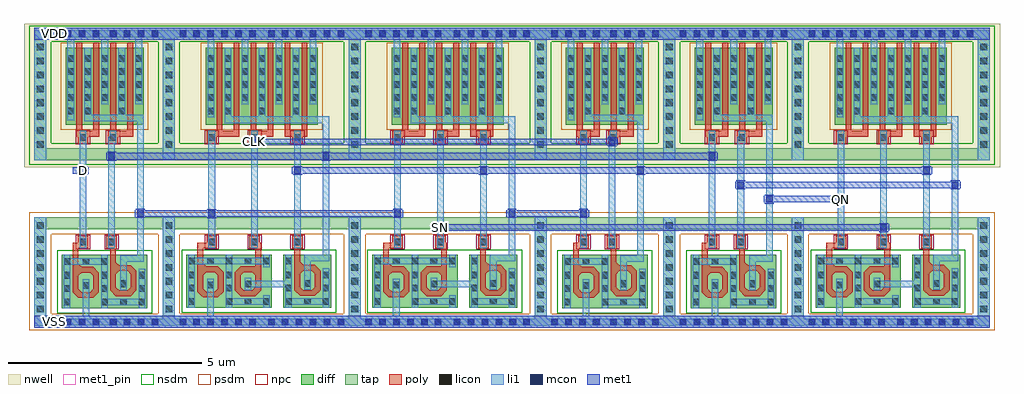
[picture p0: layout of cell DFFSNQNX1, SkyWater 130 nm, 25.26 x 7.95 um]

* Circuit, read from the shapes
.subckt DFFSNQNX1 CLK D QN SN VDD VSS
XM1 n1 D VSS VSS sky130_fd_pr__nfet_01v8 w=2.6 l=0.1464
XM2 n1 n2 n3 VSS sky130_fd_pr__nfet_01v8 w=2.56 l=0.1463
XM3 n4 n3 VSS VSS sky130_fd_pr__nfet_01v8 w=2.6 l=0.1464
XM4 n4 CLK n5 VSS sky130_fd_pr__nfet_01v8 w=2.52 l=0.1453
XM5 n5 n6 n2 VSS sky130_fd_pr__nfet_01v8 w=2.56 l=0.1459
XM6 n7 n3 VSS VSS sky130_fd_pr__nfet_01v8 w=2.6 l=0.1461
XM7 n7 SN n8 VSS sky130_fd_pr__nfet_01v8 w=2.52 l=0.1453
XM8 n8 n6 n9 VSS sky130_fd_pr__nfet_01v8 w=2.56 l=0.1459
XM9 n10 n9 VSS VSS sky130_fd_pr__nfet_01v8 w=2.6 l=0.1465
XM10 n10 CLK n6 VSS sky130_fd_pr__nfet_01v8 w=2.56 l=0.1461
XM11 n11 n2 VSS VSS sky130_fd_pr__nfet_01v8 w=2.6 l=0.1464
XM12 n11 n12 QN VSS sky130_fd_pr__nfet_01v8 w=2.56 l=0.1463
XM13 n13 QN VSS VSS sky130_fd_pr__nfet_01v8 w=2.6 l=0.1464
XM14 n13 SN n14 VSS sky130_fd_pr__nfet_01v8 w=2.52 l=0.1453
XM15 n14 n6 n12 VSS sky130_fd_pr__nfet_01v8 w=2.56 l=0.1459
XM16 n3 D VDD VDD sky130_fd_pr__pfet_01v8 w=2 l=0.15 m=2
XM17 n3 n2 VDD VDD sky130_fd_pr__pfet_01v8 w=2 l=0.15 m=2
XM18 n2 n3 VDD VDD sky130_fd_pr__pfet_01v8 w=2 l=0.15 m=2
XM19 n2 CLK VDD VDD sky130_fd_pr__pfet_01v8 w=2 l=0.15 m=2
XM20 n2 n6 VDD VDD sky130_fd_pr__pfet_01v8 w=2 l=0.15 m=2
XM21 n9 n3 VDD VDD sky130_fd_pr__pfet_01v8 w=2 l=0.15 m=2
XM22 n9 SN VDD VDD sky130_fd_pr__pfet_01v8 w=2 l=0.15 m=2
XM23 n9 n6 VDD VDD sky130_fd_pr__pfet_01v8 w=2 l=0.15 m=2
XM24 n6 n9 VDD VDD sky130_fd_pr__pfet_01v8 w=2 l=0.15 m=2
XM25 n6 CLK VDD VDD sky130_fd_pr__pfet_01v8 w=2 l=0.15 m=2
XM26 QN n2 VDD VDD sky130_fd_pr__pfet_01v8 w=2 l=0.15 m=2
XM27 QN n12 VDD VDD sky130_fd_pr__pfet_01v8 w=2 l=0.15 m=2
XM28 n12 QN VDD VDD sky130_fd_pr__pfet_01v8 w=2 l=0.15 m=2
XM29 n12 SN VDD VDD sky130_fd_pr__pfet_01v8 w=2 l=0.15 m=2
XM30 n12 n6 VDD VDD sky130_fd_pr__pfet_01v8 w=2 l=0.15 m=2
.ends

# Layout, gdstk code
import gdstk
lib = gdstk.Library(unit=1e-6, precision=1e-09)
def R(c, l, rs):  # rectangles x0, y0, x1, y1
    for r in rs: c.add(gdstk.rectangle(r[:2], r[2:], *l))
def A(c, l, x, y, w, h, nx, ny, dx, dy):  # array of equal rectangles
    R(c, l, [(x+i*dx, y+j*dy, x+i*dx+w, y+j*dy+h) for i in range(nx) for j in range(ny)])
def P(c, l, *ps):  # polygons
    for p in ps: c.add(gdstk.Polygon(p, *l))
nwell = (64, 20)
diff = (65, 20)
tap = (65, 44)
poly = (66, 20)
licon = (66, 44)
li1 = (67, 20)
mcon = (67, 44)
met1_pin = (68, 16)
met1 = (68, 20)
nsdm = (93, 44)
psdm = (94, 20)
npc = (95, 20)

dffsnqnx1 = lib.new_cell('DFFSNQNX1')
R(dffsnqnx1, nwell, [(-0.42,4.16,24.84,7.875)])
R(dffsnqnx1, diff, [(0.56,0.505,2.77,1.885), (13.51,0.505,15.72,1.885), (16.84,0.505,19.05,1.885), (3.785,0.515,5.995,1.895), (6.295,0.515,7.535,1.895), (8.595,0.515,10.805,1.895), (11.105,0.515,12.345,1.895), (20.065,0.515,22.275,1.895), (22.575,0.515,23.815,1.895), (0.655,5.25,2.675,7.25), (4.285,5.25,7.185,7.25), (9.095,5.25,11.995,7.25), (13.605,5.25,15.625,7.25), (16.935,5.25,18.955,7.25), (20.565,5.25,23.465,7.25)])
A(dffsnqnx1, tap, 3.175, 0.055, 0.31, 0.01, 3, 1, 4.81, 0)
A(dffsnqnx1, tap, 3.175, 0.235, 0.31, 2.315, 3, 1, 4.81, 0)
A(dffsnqnx1, tap, 3.175, 4.65, 0.31, 2.875, 3, 1, 4.81, 0)
R(dffsnqnx1, tap, [(-0.155,0.055,0.155,0.065), (16.125,0.055,16.435,0.065), (19.455,0.055,19.765,0.065), (24.265,0.055,24.575,0.065), (-0.155,0.065,24.575,0.235), (-0.155,0.235,0.155,2.55), (16.125,0.235,16.435,2.55), (19.455,0.235,19.765,2.55), (24.265,0.235,24.575,2.55), (-0.155,2.55,24.575,2.86), (-0.155,4.34,24.575,4.65), (-0.155,4.65,0.155,7.525), (16.125,4.65,16.435,7.525), (19.455,4.65,19.765,7.525), (24.265,4.65,24.575,7.525), (-0.155,7.525,24.575,7.695)])
A(dffsnqnx1, poly, 1.715, 2.055, 0.27, 0.33, 3, 1, 4.81, 0)
A(dffsnqnx1, poly, 13.925, 2.205, 0.27, 0.18, 3, 1, 3.33, 0)
A(dffsnqnx1, poly, 4.305, 4.765, 0.27, 0.18, 3, 1, 1.11, 0)
A(dffsnqnx1, poly, 9.115, 4.765, 0.27, 0.18, 3, 1, 1.11, 0)
A(dffsnqnx1, poly, 20.585, 4.765, 0.27, 0.18, 3, 1, 1.11, 0)
A(dffsnqnx1, poly, 0.935, 5.095, 0.15, 2.285, 4, 1, 0.44, 0)
A(dffsnqnx1, poly, 4.565, 5.095, 0.15, 2.285, 6, 1, 0.44, 0)
A(dffsnqnx1, poly, 9.375, 5.095, 0.15, 2.285, 6, 1, 0.44, 0)
A(dffsnqnx1, poly, 13.885, 5.095, 0.15, 2.285, 4, 1, 0.44, 0)
A(dffsnqnx1, poly, 17.215, 5.095, 0.15, 2.285, 4, 1, 0.44, 0)
A(dffsnqnx1, poly, 20.845, 5.095, 0.15, 2.285, 6, 1, 0.44, 0)
R(dffsnqnx1, poly, [(0.99,0.775,1.37,0.925), (13.94,0.775,14.32,0.785), (17.27,0.775,17.65,0.815), (4.215,0.785,4.595,0.815), (9.025,0.785,9.405,0.82), (13.93,0.785,14.32,0.82), (20.495,0.785,20.875,0.815), (1.96,0.815,2.34,0.965), (4.185,0.815,4.595,0.935), (14.91,0.815,15.29,0.965), (17.23,0.815,17.65,0.925), (18.24,0.815,18.62,0.965), (20.465,0.815,20.875,0.935), (5.19,0.82,5.565,0.97), (8.99,0.82,9.405,0.825), (10,0.82,10.375,0.97), (13.895,0.82,14.32,0.825), (21.47,0.82,21.845,0.97), (6.725,0.825,7.105,0.975), (8.985,0.825,9.405,0.935), (11.535,0.825,11.915,0.975), (13.89,0.825,14.32,0.925), (23.005,0.825,23.385,0.975), (0.84,0.925,0.99,1.43), (1.37,0.925,1.52,1.43), (13.79,0.925,13.94,1.43), (14.32,0.925,14.47,1.43), (17.12,0.925,17.27,1.43), (17.65,0.925,17.8,1.43), (4.065,0.935,4.215,1.44), (4.595,0.935,4.745,1.44), (8.875,0.935,9.025,1.44), (9.405,0.935,9.555,1.44), (20.345,0.935,20.495,1.44), (20.875,0.935,21.025,1.44), (1.81,0.965,1.96,1.47), (2.34,0.965,2.49,1.47), (14.76,0.965,14.91,1.47), (15.29,0.965,15.44,1.47), (18.09,0.965,18.24,1.47), (18.62,0.965,18.77,1.47), (5.04,0.97,5.19,1.44), (5.565,0.97,5.715,1.44), (9.85,0.97,10,1.44), (10.375,0.97,10.525,1.44), (21.32,0.97,21.47,1.44), (21.845,0.97,21.995,1.44), (6.575,0.975,6.725,1.48), (7.105,0.975,7.255,1.48), (11.385,0.975,11.535,1.48), (11.915,0.975,12.065,1.48), (22.855,0.975,23.005,1.48), (23.385,0.975,23.535,1.48), (0.84,1.43,1.37,1.58), (13.79,1.43,14.32,1.58), (17.12,1.43,17.65,1.58), (4.065,1.44,4.595,1.59), (5.19,1.44,5.715,1.59), (8.875,1.44,9.405,1.59), (10,1.44,10.525,1.59), (20.345,1.44,20.875,1.59), (21.47,1.44,21.995,1.59), (1.81,1.47,2.34,1.62), (14.76,1.47,15.29,1.62), (18.09,1.47,18.62,1.62), (6.575,1.48,7.105,1.63), (11.385,1.48,11.915,1.63), (22.855,1.48,23.385,1.63), (0.84,1.58,0.99,2.055), (13.79,1.58,13.94,2.055), (17.12,1.58,17.27,2.055), (4.065,1.59,4.215,2.055), (5.565,1.59,5.715,2.055), (8.875,1.59,9.025,2.055), (10.375,1.59,10.525,2.055), (20.345,1.59,20.495,2.055), (21.845,1.59,21.995,2.055), (1.81,1.62,1.96,2.055), (14.76,1.62,14.91,2.055), (18.09,1.62,18.24,2.055), (6.575,1.63,6.725,2.055), (11.385,1.63,11.535,2.055), (22.855,1.63,23.005,2.055), (0.84,2.055,1.245,2.205), (4.065,2.055,4.575,2.205), (5.415,2.055,5.715,2.205), (8.875,2.055,9.385,2.205), (10.225,2.055,10.525,2.205), (13.79,2.055,14.195,2.205), (14.665,2.055,14.935,2.385), (17.12,2.055,17.525,2.205), (17.995,2.055,18.265,2.385), (20.345,2.055,20.855,2.205), (21.695,2.055,21.995,2.205), (22.805,2.055,23.075,2.385), (0.975,2.205,1.245,2.385), (4.305,2.205,4.575,2.385), (5.415,2.205,5.685,2.385), (9.115,2.205,9.385,2.385), (10.225,2.205,10.495,2.385), (21.695,2.205,21.965,2.385), (0.975,4.765,1.245,4.945), (1.745,4.765,2.015,4.945), (13.925,4.765,14.195,4.945), (14.695,4.765,14.965,4.945), (17.255,4.765,17.525,4.945), (18.025,4.765,18.295,4.945), (0.935,4.945,1.525,5.095), (1.745,4.945,2.405,5.095), (4.305,4.945,5.155,5.095), (5.415,4.945,6.035,5.095), (6.325,4.945,6.915,5.095), (9.115,4.945,9.965,5.095), (10.225,4.945,10.845,5.095), (11.135,4.945,11.725,5.095), (13.885,4.945,14.475,5.095), (14.695,4.945,15.355,5.095), (17.215,4.945,17.805,5.095), (18.025,4.945,18.685,5.095), (20.585,4.945,21.435,5.095), (21.695,4.945,22.315,5.095), (22.605,4.945,23.195,5.095)])
P(dffsnqnx1, poly, [(0.99,1.66),(0.99,1.58),(1.07,1.58)],
  [(1.96,1.7),(1.96,1.62),(2.04,1.62)],
  [(1.37,1.58),(1.37,1.43),(1.52,1.43)],
  [(0.99,1.35),(0.99,1.43),(1.07,1.43)],
  [(1.29,1.43),(1.37,1.43),(1.37,1.35)],
  [(0.99,1.005),(0.99,0.925),(1.07,0.925)],
  [(1.29,0.925),(1.37,0.925),(1.37,1.005)],
  [(0.84,0.925),(0.99,0.925),(0.99,0.775)],
  [(1.37,0.775),(1.37,0.925),(1.52,0.925)],
  [(2.34,1.62),(2.34,1.47),(2.49,1.47)],
  [(1.96,1.39),(1.96,1.47),(2.04,1.47)],
  [(2.26,1.47),(2.34,1.47),(2.34,1.39)],
  [(1.96,1.045),(1.96,0.965),(2.04,0.965)],
  [(2.26,0.965),(2.34,0.965),(2.34,1.045)],
  [(1.81,0.965),(1.96,0.965),(1.96,0.815)],
  [(2.34,0.815),(2.34,0.965),(2.49,0.965)],
  [(4.215,1.67),(4.215,1.59),(4.295,1.59)],
  [(4.595,1.59),(4.595,1.44),(4.745,1.44)],
  [(4.215,1.36),(4.215,1.44),(4.295,1.44)],
  [(4.515,1.44),(4.595,1.44),(4.595,1.36)],
  [(4.215,1.015),(4.215,0.935),(4.295,0.935)],
  [(4.515,0.935),(4.595,0.935),(4.595,1.015)],
  [(4.065,0.935),(4.185,0.935),(4.185,0.815)],
  [(4.185,0.815),(4.215,0.815),(4.215,0.785)],
  [(4.595,0.785),(4.595,0.935),(4.745,0.935)],
  [(5.04,1.44),(5.19,1.44),(5.19,1.59)],
  [(5.19,1.36),(5.19,1.44),(5.27,1.44)],
  [(5.485,1.44),(5.565,1.44),(5.565,1.36)],
  [(5.19,1.05),(5.19,0.97),(5.27,0.97)],
  [(5.485,0.97),(5.565,0.97),(5.565,1.05)],
  [(5.04,0.97),(5.19,0.97),(5.19,0.82)],
  [(5.565,0.82),(5.565,0.97),(5.715,0.97)],
  [(6.725,1.71),(6.725,1.63),(6.805,1.63)],
  [(7.105,1.63),(7.105,1.48),(7.255,1.48)],
  [(6.725,1.4),(6.725,1.48),(6.805,1.48)],
  [(7.025,1.48),(7.105,1.48),(7.105,1.4)],
  [(6.725,1.055),(6.725,0.975),(6.805,0.975)],
  [(7.025,0.975),(7.105,0.975),(7.105,1.055)],
  [(6.575,0.975),(6.725,0.975),(6.725,0.825)],
  [(7.105,0.825),(7.105,0.975),(7.255,0.975)],
  [(9.025,1.67),(9.025,1.59),(9.105,1.59)],
  [(9.405,1.59),(9.405,1.44),(9.555,1.44)],
  [(9.025,1.36),(9.025,1.44),(9.105,1.44)],
  [(9.325,1.44),(9.405,1.44),(9.405,1.36)],
  [(9.025,1.015),(9.025,0.935),(9.105,0.935)],
  [(9.325,0.935),(9.405,0.935),(9.405,1.015)],
  [(8.875,0.935),(8.985,0.935),(8.985,0.825)],
  [(8.985,0.825),(8.99,0.825),(8.99,0.82)],
  [(8.99,0.82),(9.025,0.82),(9.025,0.785)],
  [(9.405,0.785),(9.405,0.935),(9.555,0.935)],
  [(9.85,1.44),(10,1.44),(10,1.59)],
  [(10,1.36),(10,1.44),(10.08,1.44)],
  [(10.295,1.44),(10.375,1.44),(10.375,1.36)],
  [(10,1.05),(10,0.97),(10.08,0.97)],
  [(10.295,0.97),(10.375,0.97),(10.375,1.05)],
  [(9.85,0.97),(10,0.97),(10,0.82)],
  [(10.375,0.82),(10.375,0.97),(10.525,0.97)],
  [(11.535,1.71),(11.535,1.63),(11.615,1.63)],
  [(11.915,1.63),(11.915,1.48),(12.065,1.48)],
  [(11.535,1.4),(11.535,1.48),(11.615,1.48)],
  [(11.835,1.48),(11.915,1.48),(11.915,1.4)],
  [(11.535,1.055),(11.535,0.975),(11.615,0.975)],
  [(11.835,0.975),(11.915,0.975),(11.915,1.055)],
  [(11.385,0.975),(11.535,0.975),(11.535,0.825)],
  [(11.915,0.825),(11.915,0.975),(12.065,0.975)],
  [(13.94,1.66),(13.94,1.58),(14.02,1.58)],
  [(14.91,1.7),(14.91,1.62),(14.99,1.62)],
  [(14.32,1.58),(14.32,1.43),(14.47,1.43)],
  [(13.94,1.35),(13.94,1.43),(14.02,1.43)],
  [(14.24,1.43),(14.32,1.43),(14.32,1.35)],
  [(13.94,1.005),(13.94,0.925),(14.02,0.925)],
  [(14.24,0.925),(14.32,0.925),(14.32,1.005)],
  [(13.79,0.925),(13.89,0.925),(13.89,0.825)],
  [(13.89,0.825),(13.895,0.825),(13.895,0.82)],
  [(13.895,0.82),(13.93,0.82),(13.93,0.785)],
  [(13.93,0.785),(13.94,0.785),(13.94,0.775)],
  [(14.32,0.775),(14.32,0.925),(14.47,0.925)],
  [(15.29,1.62),(15.29,1.47),(15.44,1.47)],
  [(14.91,1.39),(14.91,1.47),(14.99,1.47)],
  [(15.21,1.47),(15.29,1.47),(15.29,1.39)],
  [(14.91,1.045),(14.91,0.965),(14.99,0.965)],
  [(15.21,0.965),(15.29,0.965),(15.29,1.045)],
  [(14.76,0.965),(14.91,0.965),(14.91,0.815)],
  [(15.29,0.815),(15.29,0.965),(15.44,0.965)],
  [(17.27,1.66),(17.27,1.58),(17.35,1.58)],
  [(18.24,1.7),(18.24,1.62),(18.32,1.62)],
  [(17.65,1.58),(17.65,1.43),(17.8,1.43)],
  [(17.27,1.35),(17.27,1.43),(17.35,1.43)],
  [(17.57,1.43),(17.65,1.43),(17.65,1.35)],
  [(17.27,1.005),(17.27,0.925),(17.35,0.925)],
  [(17.57,0.925),(17.65,0.925),(17.65,1.005)],
  [(17.12,0.925),(17.23,0.925),(17.23,0.815)],
  [(17.23,0.815),(17.27,0.815),(17.27,0.775)],
  [(17.65,0.775),(17.65,0.925),(17.8,0.925)],
  [(18.62,1.62),(18.62,1.47),(18.77,1.47)],
  [(18.24,1.39),(18.24,1.47),(18.32,1.47)],
  [(18.54,1.47),(18.62,1.47),(18.62,1.39)],
  [(18.24,1.045),(18.24,0.965),(18.32,0.965)],
  [(18.54,0.965),(18.62,0.965),(18.62,1.045)],
  [(18.09,0.965),(18.24,0.965),(18.24,0.815)],
  [(18.62,0.815),(18.62,0.965),(18.77,0.965)],
  [(20.495,1.67),(20.495,1.59),(20.575,1.59)],
  [(20.875,1.59),(20.875,1.44),(21.025,1.44)],
  [(20.495,1.36),(20.495,1.44),(20.575,1.44)],
  [(20.795,1.44),(20.875,1.44),(20.875,1.36)],
  [(20.495,1.015),(20.495,0.935),(20.575,0.935)],
  [(20.795,0.935),(20.875,0.935),(20.875,1.015)],
  [(20.345,0.935),(20.465,0.935),(20.465,0.815)],
  [(20.465,0.815),(20.495,0.815),(20.495,0.785)],
  [(20.875,0.785),(20.875,0.935),(21.025,0.935)],
  [(21.32,1.44),(21.47,1.44),(21.47,1.59)],
  [(21.47,1.36),(21.47,1.44),(21.55,1.44)],
  [(21.765,1.44),(21.845,1.44),(21.845,1.36)],
  [(21.47,1.05),(21.47,0.97),(21.55,0.97)],
  [(21.765,0.97),(21.845,0.97),(21.845,1.05)],
  [(21.32,0.97),(21.47,0.97),(21.47,0.82)],
  [(21.845,0.82),(21.845,0.97),(21.995,0.97)],
  [(23.005,1.71),(23.005,1.63),(23.085,1.63)],
  [(23.385,1.63),(23.385,1.48),(23.535,1.48)],
  [(23.005,1.4),(23.005,1.48),(23.085,1.48)],
  [(23.305,1.48),(23.385,1.48),(23.385,1.4)],
  [(23.005,1.055),(23.005,0.975),(23.085,0.975)],
  [(23.305,0.975),(23.385,0.975),(23.385,1.055)],
  [(22.855,0.975),(23.005,0.975),(23.005,0.825)],
  [(23.385,0.825),(23.385,0.975),(23.535,0.975)])
A(dffsnqnx1, licon, 0.275, 0.065, 0.17, 0.17, 4, 2, 0.36, 7.46)
A(dffsnqnx1, licon, 1.805, 0.065, 0.17, 0.17, 4, 2, 0.36, 7.46)
A(dffsnqnx1, licon, 3.605, 0.065, 0.17, 0.17, 6, 2, 0.36, 7.46)
A(dffsnqnx1, licon, 5.895, 0.065, 0.17, 0.17, 6, 2, 0.36, 7.46)
A(dffsnqnx1, licon, 8.415, 0.065, 0.17, 0.17, 6, 2, 0.36, 7.46)
A(dffsnqnx1, licon, 10.705, 0.065, 0.17, 0.17, 6, 2, 0.36, 7.46)
A(dffsnqnx1, licon, 13.225, 0.065, 0.17, 0.17, 4, 2, 0.36, 7.46)
A(dffsnqnx1, licon, 14.755, 0.065, 0.17, 0.17, 4, 2, 0.36, 7.46)
A(dffsnqnx1, licon, 16.555, 0.065, 0.17, 0.17, 4, 2, 0.36, 7.46)
A(dffsnqnx1, licon, 18.085, 0.065, 0.17, 0.17, 4, 2, 0.36, 7.46)
A(dffsnqnx1, licon, 19.885, 0.065, 0.17, 0.17, 6, 2, 0.36, 7.46)
A(dffsnqnx1, licon, 22.175, 0.065, 0.17, 0.17, 6, 2, 0.36, 7.46)
A(dffsnqnx1, licon, -0.085, 0.4, 0.17, 0.17, 1, 7, 0, 0.36)
A(dffsnqnx1, licon, 3.245, 0.4, 0.17, 0.17, 3, 7, 4.81, 0.36)
A(dffsnqnx1, licon, 16.195, 0.4, 0.17, 0.17, 1, 7, 0, 0.36)
A(dffsnqnx1, licon, 19.525, 0.4, 0.17, 0.17, 1, 7, 0, 0.36)
A(dffsnqnx1, licon, 24.335, 0.4, 0.17, 0.17, 1, 7, 0, 0.36)
A(dffsnqnx1, licon, 1.58, 0.585, 0.17, 0.17, 3, 1, 0.485, 0)
A(dffsnqnx1, licon, 14.53, 0.585, 0.17, 0.17, 3, 1, 0.485, 0)
A(dffsnqnx1, licon, 17.86, 0.585, 0.17, 0.17, 3, 1, 0.485, 0)
A(dffsnqnx1, licon, 4.805, 0.595, 0.17, 0.17, 3, 1, 0.485, 0)
A(dffsnqnx1, licon, 6.345, 0.595, 0.17, 0.17, 3, 1, 0.485, 0)
A(dffsnqnx1, licon, 9.615, 0.595, 0.17, 0.17, 3, 1, 0.485, 0)
A(dffsnqnx1, licon, 11.155, 0.595, 0.17, 0.17, 3, 1, 0.485, 0)
A(dffsnqnx1, licon, 21.085, 0.595, 0.17, 0.17, 3, 1, 0.485, 0)
A(dffsnqnx1, licon, 22.625, 0.595, 0.17, 0.17, 3, 1, 0.485, 0)
A(dffsnqnx1, licon, 0.61, 0.935, 0.17, 0.17, 3, 2, 0.97, 0.34)
A(dffsnqnx1, licon, 13.56, 0.935, 0.17, 0.17, 3, 2, 0.97, 0.34)
A(dffsnqnx1, licon, 16.89, 0.935, 0.17, 0.17, 3, 2, 0.97, 0.34)
A(dffsnqnx1, licon, 0.61, 1.635, 0.17, 0.17, 3, 1, 0.485, 0)
A(dffsnqnx1, licon, 13.56, 1.635, 0.17, 0.17, 3, 1, 0.485, 0)
A(dffsnqnx1, licon, 16.89, 1.635, 0.17, 0.17, 3, 1, 0.485, 0)
A(dffsnqnx1, licon, 3.835, 1.645, 0.17, 0.17, 5, 1, 0.485, 0)
A(dffsnqnx1, licon, 8.645, 1.645, 0.17, 0.17, 5, 1, 0.485, 0)
A(dffsnqnx1, licon, 20.115, 1.645, 0.17, 0.17, 5, 1, 0.485, 0)
A(dffsnqnx1, licon, 4.355, 2.135, 0.17, 0.17, 3, 2, 1.11, 2.71)
A(dffsnqnx1, licon, 9.165, 2.135, 0.17, 0.17, 3, 2, 1.11, 2.71)
A(dffsnqnx1, licon, 20.635, 2.135, 0.17, 0.17, 3, 2, 1.11, 2.71)
A(dffsnqnx1, licon, -0.085, 4.66, 0.17, 0.17, 1, 8, 0, 0.36)
A(dffsnqnx1, licon, 3.245, 4.66, 0.17, 0.17, 3, 8, 4.81, 0.36)
A(dffsnqnx1, licon, 16.195, 4.66, 0.17, 0.17, 1, 8, 0, 0.36)
A(dffsnqnx1, licon, 19.525, 4.66, 0.17, 0.17, 1, 8, 0, 0.36)
A(dffsnqnx1, licon, 24.335, 4.66, 0.17, 0.17, 1, 8, 0, 0.36)
A(dffsnqnx1, licon, 4.775, 5.525, 0.17, 0.17, 3, 1, 0.88, 0)
A(dffsnqnx1, licon, 9.585, 5.525, 0.17, 0.17, 3, 1, 0.88, 0)
A(dffsnqnx1, licon, 21.055, 5.525, 0.17, 0.17, 3, 1, 0.88, 0)
A(dffsnqnx1, licon, 0.705, 5.87, 0.17, 0.17, 5, 4, 0.44, 0.34)
A(dffsnqnx1, licon, 4.335, 5.87, 0.17, 0.17, 7, 4, 0.44, 0.34)
A(dffsnqnx1, licon, 9.145, 5.87, 0.17, 0.17, 7, 4, 0.44, 0.34)
A(dffsnqnx1, licon, 13.655, 5.87, 0.17, 0.17, 5, 4, 0.44, 0.34)
A(dffsnqnx1, licon, 16.985, 5.87, 0.17, 0.17, 5, 4, 0.44, 0.34)
A(dffsnqnx1, licon, 20.615, 5.87, 0.17, 0.17, 7, 4, 0.44, 0.34)
R(dffsnqnx1, licon, [(0.61,0.585,0.78,0.755), (13.56,0.585,13.73,0.755), (16.89,0.585,17.06,0.755), (3.835,0.595,4.005,0.765), (8.645,0.595,8.815,0.765), (20.115,0.595,20.285,0.765), (3.835,0.945,4.005,1.115), (4.805,0.945,4.975,1.115), (6.345,0.945,6.515,1.115), (7.315,0.945,7.485,1.115), (8.645,0.945,8.815,1.115), (9.615,0.945,9.785,1.115), (11.155,0.945,11.325,1.115), (12.125,0.945,12.295,1.115), (20.115,0.945,20.285,1.115), (21.085,0.945,21.255,1.115), (22.625,0.945,22.795,1.115), (23.595,0.945,23.765,1.115), (1.095,1.01,1.265,1.18), (14.045,1.01,14.215,1.18), (17.375,1.01,17.545,1.18), (4.32,1.02,4.49,1.19), (9.13,1.02,9.3,1.19), (20.6,1.02,20.77,1.19), (5.295,1.05,5.465,1.22), (10.105,1.05,10.275,1.22), (21.575,1.05,21.745,1.22), (2.065,1.055,2.235,1.225), (15.015,1.055,15.185,1.225), (18.345,1.055,18.515,1.225), (6.83,1.065,7,1.235), (11.64,1.065,11.81,1.235), (23.11,1.065,23.28,1.235), (3.835,1.285,4.005,1.455), (4.805,1.285,4.975,1.455), (6.345,1.285,6.515,1.455), (7.315,1.285,7.485,1.455), (8.645,1.285,8.815,1.455), (9.615,1.285,9.785,1.455), (11.155,1.285,11.325,1.455), (12.125,1.285,12.295,1.455), (20.115,1.285,20.285,1.455), (21.085,1.285,21.255,1.455), (22.625,1.285,22.795,1.455), (23.595,1.285,23.765,1.455), (6.345,1.645,6.515,1.815), (11.155,1.645,11.325,1.815), (22.625,1.645,22.795,1.815), (1.025,2.135,1.195,2.305), (1.765,2.135,1.935,2.305), (13.975,2.135,14.145,2.305), (14.715,2.135,14.885,2.305), (17.305,2.135,17.475,2.305), (18.045,2.135,18.215,2.305), (1.025,4.845,1.195,5.015), (1.795,4.845,1.965,5.015), (13.975,4.845,14.145,5.015), (14.745,4.845,14.915,5.015), (17.305,4.845,17.475,5.015), (18.075,4.845,18.245,5.015), (0.705,5.525,0.875,5.695), (1.145,5.525,1.315,5.695), (2.025,5.525,2.195,5.695), (4.335,5.525,4.505,5.695), (9.145,5.525,9.315,5.695), (13.655,5.525,13.825,5.695), (14.095,5.525,14.265,5.695), (14.975,5.525,15.145,5.695), (16.985,5.525,17.155,5.695), (17.425,5.525,17.595,5.695), (18.305,5.525,18.475,5.695), (20.615,5.525,20.785,5.695)])
A(dffsnqnx1, li1, 3.175, 0.31, 0.31, 2.55, 3, 1, 4.81, 0)
A(dffsnqnx1, li1, 3.835, 1.815, 0.17, 0.08, 3, 1, 0.97, 0)
A(dffsnqnx1, li1, 8.645, 1.815, 0.17, 0.08, 3, 1, 0.97, 0)
A(dffsnqnx1, li1, 20.115, 1.815, 0.17, 0.08, 3, 1, 0.97, 0)
A(dffsnqnx1, li1, 4.355, 2.055, 0.17, 3.04, 3, 1, 1.11, 0)
A(dffsnqnx1, li1, 9.165, 2.055, 0.17, 3.04, 3, 1, 1.11, 0)
A(dffsnqnx1, li1, 13.975, 2.055, 0.17, 3.04, 3, 1, 3.33, 0)
A(dffsnqnx1, li1, 3.175, 4.34, 0.31, 3.12, 3, 1, 4.81, 0)
A(dffsnqnx1, li1, 4.775, 5.47, 0.17, 1.78, 3, 1, 0.88, 0)
A(dffsnqnx1, li1, 9.585, 5.47, 0.17, 1.78, 3, 1, 0.88, 0)
A(dffsnqnx1, li1, 21.055, 5.47, 0.17, 1.78, 3, 1, 0.88, 0)
A(dffsnqnx1, li1, 5.215, 5.785, 0.17, 1.675, 3, 1, 0.88, 0)
A(dffsnqnx1, li1, 10.025, 5.785, 0.17, 1.675, 3, 1, 0.88, 0)
A(dffsnqnx1, li1, 21.495, 5.785, 0.17, 1.675, 3, 1, 0.88, 0)
R(dffsnqnx1, li1, [(-0.155,0,24.575,0.31), (-0.155,0.31,0.155,2.86), (1.095,0.31,1.265,1.26), (4.32,0.31,4.49,1.27), (9.13,0.31,9.3,1.27), (14.045,0.31,14.215,1.26), (16.125,0.31,16.435,2.86), (17.375,0.31,17.545,1.26), (19.455,0.31,19.765,2.86), (20.6,0.31,20.77,1.27), (24.265,0.31,24.575,2.86), (0.61,0.505,0.78,1.635), (1.58,0.505,1.75,0.585), (2.55,0.505,2.72,0.585), (13.56,0.505,13.73,1.635), (14.53,0.505,14.7,0.585), (15.5,0.505,15.67,0.585), (16.89,0.505,17.06,1.635), (17.86,0.505,18.03,0.585), (18.83,0.505,19,0.585), (3.835,0.515,4.005,1.645), (4.805,0.515,4.975,0.595), (5.775,0.515,5.945,0.595), (6.345,0.515,6.515,0.595), (7.315,0.515,7.485,0.595), (8.645,0.515,8.815,1.645), (9.615,0.515,9.785,0.595), (10.585,0.515,10.755,0.595), (11.155,0.515,11.325,0.595), (12.125,0.515,12.295,0.595), (20.115,0.515,20.285,1.645), (21.085,0.515,21.255,0.595), (22.055,0.515,22.225,0.595), (22.625,0.515,22.795,0.595), (23.595,0.515,23.765,0.595), (1.58,0.585,2.72,0.755), (14.53,0.585,15.67,0.755), (17.86,0.585,19,0.755), (4.805,0.595,5.945,0.765), (6.345,0.595,7.485,0.765), (9.615,0.595,10.755,0.765), (11.155,0.595,12.295,0.765), (21.085,0.595,22.225,0.765), (22.625,0.595,23.765,0.765), (1.58,0.755,1.75,1.635), (2.55,0.755,2.72,1.525), (14.53,0.755,14.7,1.635), (15.5,0.755,15.67,1.525), (17.86,0.755,18.03,1.635), (18.83,0.755,19,1.525), (4.805,0.765,4.975,1.645), (5.775,0.765,5.945,0.845), (6.345,0.765,6.515,1.05), (7.315,0.765,7.485,1.535), (9.615,0.765,9.785,1.645), (10.585,0.765,10.755,0.845), (11.155,0.765,11.325,1.05), (12.125,0.765,12.295,1.535), (21.085,0.765,21.255,1.645), (22.055,0.765,22.225,0.845), (22.625,0.765,22.795,1.05), (23.595,0.765,23.765,1.535), (5.295,0.97,5.465,1.05), (10.105,0.97,10.275,1.05), (21.575,0.97,21.745,1.05), (2.065,0.975,2.235,1.71), (15.015,0.975,15.185,1.71), (18.345,0.975,18.515,1.71), (6.83,0.985,7,1.72), (11.64,0.985,11.81,1.72), (23.11,0.985,23.28,1.72), (5.295,1.05,6.515,1.22), (10.105,1.05,11.325,1.22), (21.575,1.05,22.795,1.22), (5.295,1.22,5.465,1.3), (6.345,1.22,6.515,1.895), (10.105,1.22,10.275,1.3), (11.155,1.22,11.325,1.895), (21.575,1.22,21.745,1.3), (22.625,1.22,22.795,1.895), (5.775,1.565,5.945,1.645), (10.585,1.565,10.755,1.645), (22.055,1.565,22.225,1.645), (0.61,1.635,1.75,1.805), (13.56,1.635,14.7,1.805), (16.89,1.635,18.03,1.805), (3.835,1.645,5.945,1.815), (8.645,1.645,10.755,1.815), (20.115,1.645,22.225,1.815), (2.065,1.71,2.675,1.88), (15.015,1.71,15.625,1.88), (18.345,1.71,18.955,1.88), (6.83,1.72,7.485,1.89), (11.64,1.72,12.295,1.89), (23.11,1.72,23.765,1.89), (0.61,1.805,0.78,1.885), (1.58,1.805,1.75,1.885), (13.56,1.805,13.73,1.885), (14.53,1.805,14.7,1.885), (16.89,1.805,17.06,1.885), (17.86,1.805,18.03,1.885), (2.505,1.88,2.675,5.345), (15.455,1.88,15.625,5.345), (18.785,1.88,18.955,5.345), (7.315,1.89,7.485,4.275), (12.125,1.89,12.295,5.3), (23.595,1.89,23.765,5.3), (1.025,2.055,1.195,5.095), (1.765,2.055,1.935,4.765), (14.715,2.055,14.885,4.765), (18.045,2.055,18.215,4.765), (21.745,2.055,21.915,5.095), (22.855,2.055,23.025,5.095), (7.31,4.275,7.485,4.605), (-0.155,4.34,0.155,7.46), (16.125,4.34,16.435,7.46), (19.455,4.34,19.765,7.46), (24.265,4.34,24.575,7.46), (7.315,4.605,7.485,5.3), (1.765,4.765,1.965,4.94), (14.715,4.765,14.915,4.975), (18.045,4.765,18.245,4.94), (1.795,4.94,1.965,5.095), (18.075,4.94,18.245,5.095), (14.745,4.975,14.915,5.095), (4.775,5.3,7.485,5.47), (9.585,5.3,12.295,5.47), (21.055,5.3,23.765,5.47), (1.145,5.345,2.675,5.515), (14.095,5.345,15.625,5.515), (17.425,5.345,18.955,5.515), (0.705,5.365,0.875,7.46), (13.655,5.365,13.825,7.46), (16.985,5.365,17.155,7.46), (4.335,5.445,4.505,7.46), (9.145,5.445,9.315,7.46), (20.615,5.445,20.785,7.46), (1.145,5.515,1.315,7.25), (2.025,5.515,2.195,7.25), (14.095,5.515,14.265,7.25), (14.975,5.515,15.145,7.25), (17.425,5.515,17.595,7.25), (18.305,5.515,18.475,7.25), (1.585,5.785,1.755,7.46), (2.465,5.785,2.635,7.46), (14.535,5.785,14.705,7.46), (15.415,5.785,15.585,7.46), (17.865,5.785,18.035,7.46), (18.745,5.785,18.915,7.46), (-0.155,7.46,24.575,7.77)])
A(dffsnqnx1, mcon, 0.275, 0.065, 0.17, 0.17, 4, 2, 0.36, 7.46)
A(dffsnqnx1, mcon, 1.805, 0.065, 0.17, 0.17, 4, 2, 0.36, 7.46)
A(dffsnqnx1, mcon, 3.605, 0.065, 0.17, 0.17, 6, 2, 0.36, 7.46)
A(dffsnqnx1, mcon, 5.895, 0.065, 0.17, 0.17, 6, 2, 0.36, 7.46)
A(dffsnqnx1, mcon, 8.415, 0.065, 0.17, 0.17, 6, 2, 0.36, 7.46)
A(dffsnqnx1, mcon, 10.705, 0.065, 0.17, 0.17, 6, 2, 0.36, 7.46)
A(dffsnqnx1, mcon, 13.225, 0.065, 0.17, 0.17, 4, 2, 0.36, 7.46)
A(dffsnqnx1, mcon, 14.755, 0.065, 0.17, 0.17, 4, 2, 0.36, 7.46)
A(dffsnqnx1, mcon, 16.555, 0.065, 0.17, 0.17, 4, 2, 0.36, 7.46)
A(dffsnqnx1, mcon, 18.085, 0.065, 0.17, 0.17, 4, 2, 0.36, 7.46)
A(dffsnqnx1, mcon, 19.885, 0.065, 0.17, 0.17, 6, 2, 0.36, 7.46)
A(dffsnqnx1, mcon, 22.175, 0.065, 0.17, 0.17, 6, 2, 0.36, 7.46)
R(dffsnqnx1, mcon, [(10.275,2.505,10.445,2.675), (21.745,2.505,21.915,2.675), (4.355,2.87,4.525,3.04), (2.505,2.875,2.675,3.045), (9.165,2.875,9.335,3.045), (12.125,2.875,12.295,3.045), (13.975,2.875,14.145,3.045), (18.785,3.245,18.955,3.415), (20.635,3.245,20.805,3.415), (18.045,3.615,18.215,3.785), (23.595,3.615,23.765,3.785), (1.025,3.985,1.195,4.155), (6.575,3.985,6.745,4.155), (11.385,3.985,11.555,4.155), (15.455,3.985,15.625,4.155), (22.855,3.985,23.025,4.155), (1.765,4.355,1.935,4.525), (7.31,4.355,7.48,4.525), (17.305,4.355,17.475,4.525), (5.465,4.725,5.635,4.895), (14.715,4.725,14.885,4.895)])
R(dffsnqnx1, met1_pin, [(0.275,0.065,0.445,0.235), (10.275,2.505,10.445,2.675), (20.635,3.245,20.805,3.415), (1.025,3.985,1.195,4.155), (5.465,4.725,5.635,4.895), (0.275,7.525,0.445,7.695)])
R(dffsnqnx1, met1, [(-0.155,0,24.575,0.31), (10.245,2.475,10.475,2.505), (21.715,2.475,21.945,2.505), (10.215,2.505,21.975,2.675), (10.245,2.675,10.475,2.705), (21.715,2.675,21.945,2.705), (4.325,2.84,4.555,2.87), (2.475,2.845,2.705,2.875), (9.135,2.845,9.365,2.875), (12.095,2.845,12.325,2.875), (13.945,2.845,14.175,2.875), (4.295,2.87,4.705,2.875), (2.445,2.875,9.395,3.045), (12.065,2.875,14.205,3.045), (2.475,3.045,2.705,3.075), (4.325,3.045,4.555,3.07), (9.135,3.045,9.365,3.075), (12.095,3.045,12.325,3.075), (13.945,3.045,14.175,3.075), (18.755,3.215,18.985,3.245), (20.605,3.215,20.835,3.245), (18.725,3.245,20.865,3.415), (18.755,3.415,18.985,3.445), (20.605,3.415,20.835,3.445), (18.015,3.585,18.245,3.615), (23.565,3.585,23.795,3.615), (17.985,3.615,23.825,3.785), (18.015,3.785,18.245,3.815), (23.565,3.785,23.795,3.815), (0.995,3.955,1.225,3.985), (6.545,3.955,6.775,3.985), (11.355,3.955,11.585,3.985), (15.425,3.955,15.655,3.985), (22.825,3.955,23.055,3.985), (0.845,3.985,1.255,4.155), (6.515,3.985,23.085,4.155), (0.995,4.155,1.225,4.185), (6.545,4.155,6.775,4.185), (11.355,4.155,11.585,4.185), (15.425,4.155,15.655,4.185), (22.825,4.155,23.055,4.185), (1.735,4.325,1.965,4.355), (7.28,4.325,7.51,4.355), (17.275,4.325,17.505,4.355), (1.705,4.355,17.535,4.525), (1.735,4.525,1.965,4.555), (7.28,4.525,7.51,4.555), (17.275,4.525,17.505,4.555), (5.435,4.695,5.665,4.725), (14.685,4.695,14.915,4.725), (5.405,4.725,14.945,4.895), (5.435,4.895,5.665,4.925), (14.685,4.895,14.915,4.925), (-0.155,7.46,24.575,7.77)])
A(dffsnqnx1, nsdm, 3.05, 4.775, 0.56, 2.625, 3, 1, 4.81, 0)
R(dffsnqnx1, nsdm, [(0.435,0.38,2.895,2.01), (13.385,0.38,15.845,2.01), (16.715,0.38,19.175,2.01), (3.66,0.39,7.66,2.02), (8.47,0.39,12.47,2.02), (19.94,0.39,23.94,2.02), (-0.28,4.215,24.7,4.775), (-0.28,4.775,0.28,7.4), (16,4.775,16.56,7.4), (19.33,4.775,19.89,7.4), (24.14,4.775,24.7,7.4), (-0.28,7.4,24.7,7.82)])
A(dffsnqnx1, psdm, 3.05, -0.07, 0.56, 0.01, 3, 1, 4.81, 0)
A(dffsnqnx1, psdm, 3.05, 0.36, 0.56, 2.065, 3, 1, 4.81, 0)
R(dffsnqnx1, psdm, [(-0.28,-0.07,0.28,-0.06), (16,-0.07,16.56,-0.06), (19.33,-0.07,19.89,-0.06), (24.14,-0.07,24.7,-0.06), (-0.28,-0.06,24.7,0.36), (-0.28,0.36,0.28,2.425), (16,0.36,16.56,2.425), (19.33,0.36,19.89,2.425), (24.14,0.36,24.7,2.425), (-0.28,2.425,24.7,2.985), (0.53,5.125,2.8,7.375), (4.16,5.125,7.31,7.375), (8.97,5.125,12.12,7.375), (13.48,5.125,15.75,7.375), (16.81,5.125,19.08,7.375), (20.44,5.125,23.59,7.375)])
A(dffsnqnx1, npc, 4.255, 2.035, 0.37, 0.37, 3, 2, 1.11, 2.71)
A(dffsnqnx1, npc, 9.065, 2.035, 0.37, 0.37, 3, 2, 1.11, 2.71)
A(dffsnqnx1, npc, 20.535, 2.035, 0.37, 0.37, 3, 2, 1.11, 2.71)
R(dffsnqnx1, npc, [(0.925,2.035,1.295,2.405), (1.665,2.035,2.035,2.405), (13.875,2.035,14.245,2.405), (14.615,2.035,14.985,2.405), (17.205,2.035,17.575,2.405), (17.945,2.035,18.315,2.405), (0.925,4.745,1.295,5.115), (1.695,4.745,2.065,5.115), (13.875,4.745,14.245,5.115), (14.645,4.745,15.015,5.115), (17.205,4.745,17.575,5.115), (17.975,4.745,18.345,5.115)])
dffsnqnx1.add(gdstk.Label('QN', (20.72,3.33), layer=68, texttype=16))
dffsnqnx1.add(gdstk.Label('D', (1.11,4.07), layer=68, texttype=16))
dffsnqnx1.add(gdstk.Label('CLK', (5.55,4.81), layer=68, texttype=16))
dffsnqnx1.add(gdstk.Label('SN', (10.36,2.59), layer=68, texttype=16))
dffsnqnx1.add(gdstk.Label('VDD', (0.36,7.61), layer=68, texttype=16))
dffsnqnx1.add(gdstk.Label('VSS', (0.36,0.15), layer=68, texttype=16))

lib.write_gds('DFFSNQNX1.gds')
